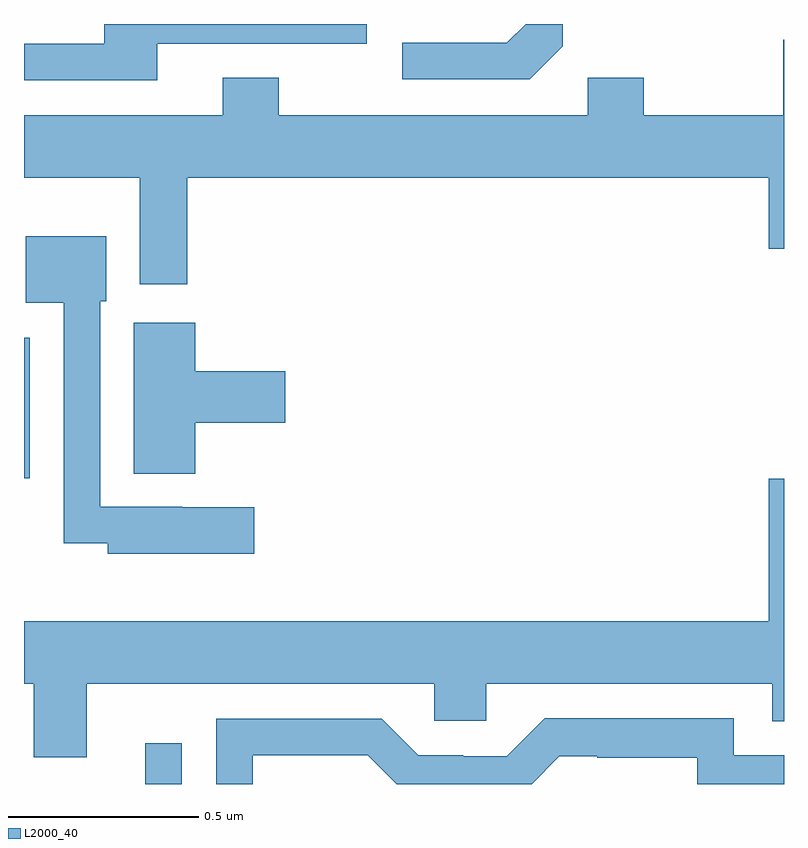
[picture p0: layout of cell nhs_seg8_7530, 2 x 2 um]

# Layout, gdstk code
import gdstk
lib = gdstk.Library(unit=1e-6, precision=1e-09)
def R(c, l, rs):  # rectangles x0, y0, x1, y1
    for r in rs: c.add(gdstk.rectangle(r[:2], r[2:], *l))
def P(c, l, *ps):  # polygons
    for p in ps: c.add(gdstk.Polygon(p, *l))
L2000_40 = (2000, 40)

nhs_seg8_7530 = lib.new_cell('nhs_seg8_7530')
R(nhs_seg8_7530, L2000_40, [(211.319,1118.9,211.415,1119.007), (211,1119.705,211.015,1120.075)])
P(nhs_seg8_7530, L2000_40, [(211.351,1120.848),(211.902,1120.848),(211.902,1120.9),(211.211,1120.9),(211.211,1120.848),(211,1120.848),(211,1120.752),(211.351,1120.752)],
  [(212.418,1120.842),(212.418,1120.9),(212.32,1120.9),(212.271,1120.851),(211.995,1120.851),(211.995,1120.755),(212.331,1120.755)],
  [(211.43,1120.496),(212.96,1120.496),(212.96,1120.308),(213,1120.308),(213,1120.859),(212.998,1120.859),(212.998,1120.66),(212.631,1120.66),(212.631,1120.759),(212.484,1120.759),(212.484,1120.66),(211.671,1120.66),(211.671,1120.759),(211.523,1120.759),(211.523,1120.66),(211,1120.66),(211,1120.496),(211.304,1120.496),(211.304,1120.215),(211.43,1120.215)],
  [(211.606,1119.628),(211.416,1119.628),(211.416,1119.63),(211.2,1119.63),(211.2,1120.17),(211.216,1120.17),(211.216,1120.342),(211.004,1120.342),(211.004,1120.166),(211.104,1120.166),(211.104,1119.533),(211.221,1119.533),(211.221,1119.506),(211.606,1119.506)],
  [(211.451,1119.851),(211.687,1119.851),(211.687,1119.986),(211.451,1119.986),(211.451,1120.114),(211.289,1120.114),(211.289,1119.716),(211.451,1119.716)],
  [(211.165,1119.164),(212.079,1119.164),(212.079,1119.066),(212.217,1119.066),(212.217,1119.164),(212.969,1119.164),(212.969,1119.065),(213,1119.065),(213,1119.703),(212.96,1119.703),(212.96,1119.328),(211,1119.328),(211,1119.164),(211.025,1119.164),(211.025,1118.97),(211.165,1118.97)],
  [(211.602,1118.976),(211.905,1118.976),(211.981,1118.9),(212.336,1118.9),(212.409,1118.973),(212.509,1118.973),(212.509,1118.969),(212.772,1118.969),(212.772,1118.9),(213,1118.9),(213,1118.976),(212.868,1118.976),(212.868,1119.073),(212.371,1119.073),(212.271,1118.973),(212.156,1118.973),(212.156,1118.976),(212.037,1118.976),(211.941,1119.072),(211.506,1119.072),(211.506,1118.9),(211.602,1118.9)])

lib.write_gds('nhs_seg8_7530.gds')
